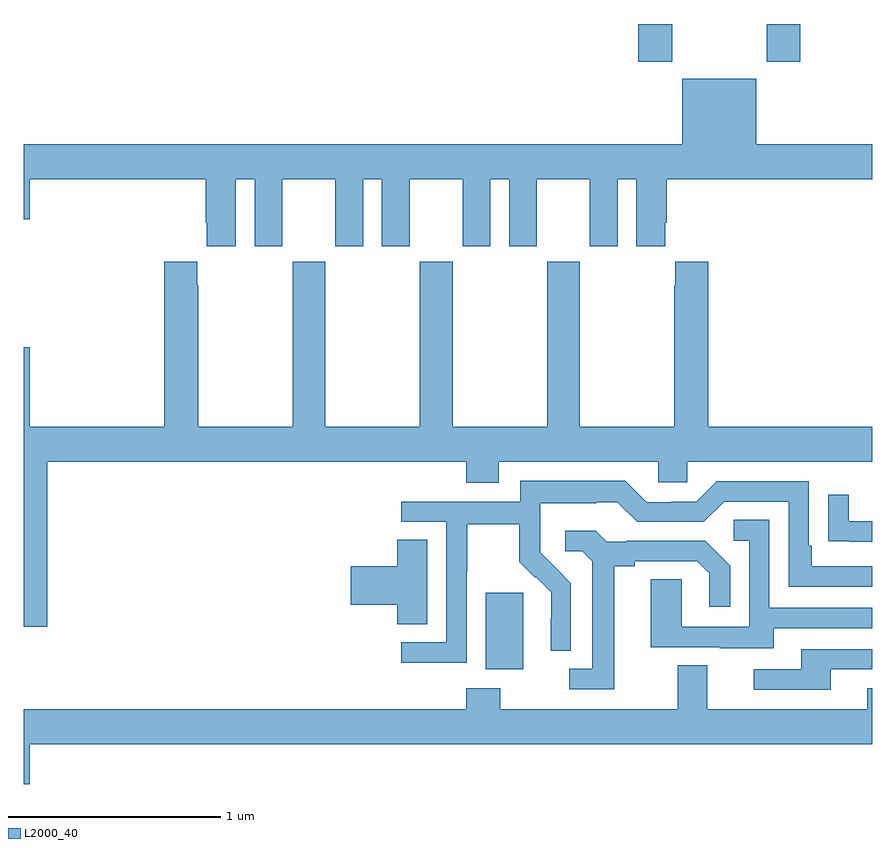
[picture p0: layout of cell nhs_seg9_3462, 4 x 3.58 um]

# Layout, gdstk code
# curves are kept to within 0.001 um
import gdstk
lib = gdstk.Library(unit=1e-6, precision=1e-09)
def R(c, l, rs):  # rectangles x0, y0, x1, y1
    for r in rs: c.add(gdstk.rectangle(r[:2], r[2:], *l))
def P(c, l, *ps):  # polygons
    for p in ps: c.add(gdstk.Polygon(p, *l))
L2000_40 = (2000, 40)

nhs_seg9_3462 = lib.new_cell('nhs_seg9_3462')
R(nhs_seg9_3462, L2000_40, [(311.177,1179.458,311.356,1179.819), (311.897,1182.321,312.057,1182.5), (312.502,1182.321,312.662,1182.5)])
P(nhs_seg9_3462, L2000_40, [(310,1181.768),(310.088,1181.768),(310.088,1181.451),(310.219,1181.451),(310.219,1181.768),(310.469,1181.768),(310.469,1181.451),(310.6,1181.451),(310.6,1181.768),(310.688,1181.768),(310.688,1181.451),(310.819,1181.451),(310.819,1181.768),(311.069,1181.768),(311.069,1181.451),(311.2,1181.451),(311.2,1181.768),(311.288,1181.768),(311.288,1181.451),(311.419,1181.451),(311.419,1181.768),(311.669,1181.768),(311.669,1181.451),(311.8,1181.451),(311.8,1181.768),(311.888,1181.768),(311.888,1181.451),(312.025,1181.451),(312.025,1181.563),(312.032,1181.563),(312.032,1181.768),(313,1181.768),(313,1181.932),(312.454,1181.932),(312.454,1182.241),(312.104,1182.241),(312.104,1181.932),(309,1181.932),(309,1181.58),(309.028,1181.58),(309.028,1181.768),(309.857,1181.768),(309.857,1181.563),(309.863,1181.563),(309.863,1181.451),(310,1181.451)],
  [(309.11,1180.436),(311.087,1180.436),(311.087,1180.337),(311.239,1180.337),(311.239,1180.436),(311.991,1180.436),(311.991,1180.338),(312.129,1180.338),(312.129,1180.436),(313,1180.436),(313,1180.6),(312.227,1180.6),(312.227,1181.38),(312.071,1181.38),(312.071,1181.267),(312.067,1181.267),(312.067,1180.6),(311.622,1180.6),(311.622,1181.38),(311.467,1181.38),(311.467,1180.6),(311.022,1180.6),(311.022,1181.38),(310.867,1181.38),(310.867,1180.6),(310.422,1180.6),(310.422,1181.38),(310.267,1181.38),(310.267,1180.6),(309.822,1180.6),(309.822,1181.267),(309.817,1181.267),(309.817,1181.38),(309.662,1181.38),(309.662,1180.6),(309.028,1180.6),(309.028,1180.975),(309,1180.975),(309,1179.657),(309.11,1179.657)],
  [(311.088,1179.916),(311.091,1179.916),(311.091,1180.14),(311.335,1180.14),(311.335,1179.965),(311.412,1179.888),(311.415,1179.891),(311.486,1179.821),(311.486,1179.698),(311.484,1179.698),(311.484,1179.544),(311.58,1179.544),(311.58,1179.862),(311.434,1180.01),(311.434,1180.107),(311.436,1180.107),(311.436,1180.241),(311.699,1180.241),(311.699,1180.245),(311.799,1180.245),(311.892,1180.152),(312.207,1180.152),(312.303,1180.248),(312.606,1180.248),(312.606,1179.846),(313,1179.846),(313,1179.942),(312.715,1179.942),(312.715,1180.039),(312.702,1180.039),(312.702,1180.344),(312.267,1180.344),(312.171,1180.248),(312.053,1180.248),(312.053,1180.245),(311.937,1180.245),(311.837,1180.345),(311.34,1180.345),(311.34,1180.248),(310.779,1180.248),(310.779,1180.152),(310.992,1180.152),(310.992,1179.585),(310.779,1179.585),(310.779,1179.487),(311.088,1179.487)],
  [(313,1180.155),(312.889,1180.155),(312.889,1180.279),(312.793,1180.279),(312.793,1180.06),(312.895,1180.06),(312.895,1180.059),(313,1180.059)],
  [(312.535,1179.651),(313,1179.651),(313,1179.747),(312.516,1179.747),(312.516,1180.163),(312.348,1180.163),(312.348,1180.062),(312.42,1180.062),(312.42,1179.657),(312.102,1179.657),(312.102,1179.881),(311.957,1179.881),(311.957,1179.561),(312.281,1179.561),(312.281,1179.557),(312.535,1179.557)],
  [(311.785,1179.944),(311.881,1179.944),(311.881,1179.966),(312.176,1179.966),(312.233,1179.909),(312.233,1179.753),(312.33,1179.753),(312.33,1179.946),(312.214,1180.062),(311.842,1180.062),(311.842,1180.059),(311.748,1180.059),(311.696,1180.111),(311.553,1180.111),(311.553,1180.014),(311.634,1180.014),(311.681,1179.967),(311.681,1179.459),(311.571,1179.459),(311.571,1179.363),(311.785,1179.363)],
  [(310.903,1180.067),(310.76,1180.067),(310.76,1179.944),(310.542,1179.944),(310.542,1179.761),(310.76,1179.761),(310.76,1179.67),(310.903,1179.67)],
  [(312.805,1179.456),(313,1179.456),(313,1179.552),(312.665,1179.552),(312.665,1179.456),(312.441,1179.456),(312.441,1179.36),(312.805,1179.36)],
  [(309.028,1179.104),(313,1179.104),(313,1179.367),(312.977,1179.367),(312.977,1179.268),(312.223,1179.268),(312.223,1179.476),(312.083,1179.476),(312.083,1179.268),(311.247,1179.268),(311.247,1179.367),(311.087,1179.367),(311.087,1179.268),(309,1179.268),(309,1178.916),(309.028,1178.916)])

lib.write_gds('nhs_seg9_3462.gds')
